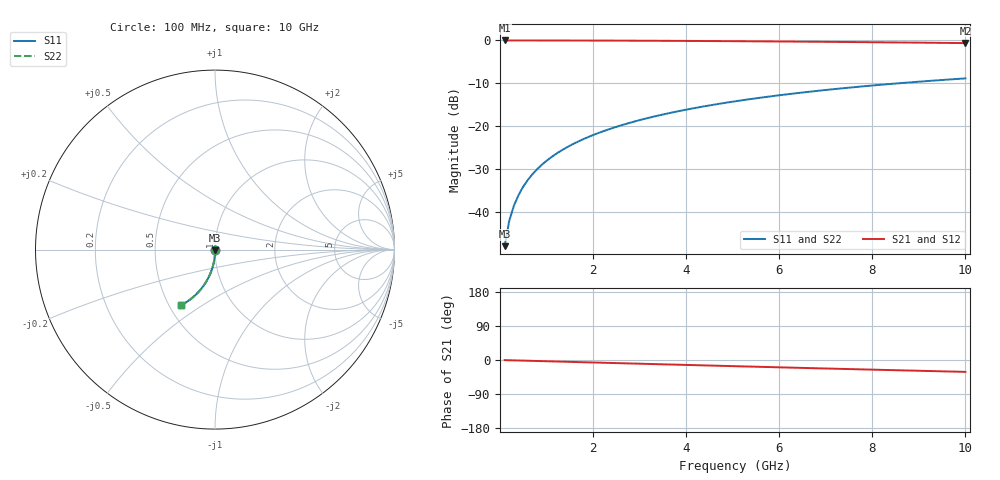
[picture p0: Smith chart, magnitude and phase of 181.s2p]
# Hz S RI R 50.00
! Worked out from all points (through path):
!   100 points, 100 MHz to 10 GHz, reference 50 ohm
!   highest |S21| = -0.01 dB at 100 MHz (marker M1); lowest = -0.6 dB at 10 GHz (marker M2)
!   group delay of S21, straight-line fit = 8.73 ps
!   lowest |S11| = -47.9 dB at 100 MHz (marker M3), VSWR 1.01, Z = 50.1 - j0.397 ohm
!   |S11| at or under -10 dB: start of sweep to 8.547 GHz
!   |S22| runs from -47.9 to -8.8 dB; largest |S21 - S12| = 0
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1e8  0.00062 -0.00397  0.9993 -0.0057  0.9993 -0.0057  0.00062 -0.00397
2e8  0.000552 -0.00793  0.9992 -0.0114  0.9992 -0.0114  0.000552 -0.00793
3e8  0.000437 -0.0119  0.9991 -0.0171  0.9991 -0.0171  0.000437 -0.0119
4e8  0.000277 -0.0159  0.9989 -0.0228  0.9989 -0.0228  0.000277 -0.0159
5e8  7.07e-05 -0.0198  0.9987 -0.0285  0.9987 -0.0285  7.07e-05 -0.0198
6e8  -0.000181 -0.0238  0.9984 -0.0342  0.9984 -0.0342  -0.000181 -0.0238
7e8  -0.000477 -0.0277  0.9981 -0.0399  0.9981 -0.0399  -0.000477 -0.0277
8e8  -0.000819 -0.0317  0.9978 -0.0456  0.9978 -0.0456  -0.000819 -0.0317
9e8  -0.00121 -0.0356  0.9973 -0.0513  0.9973 -0.0513  -0.00121 -0.0356
1.1e9  -0.00211 -0.0435  0.9964 -0.0626  0.9964 -0.0626  -0.00211 -0.0435
1.4e9  -0.00381 -0.0553  0.9945 -0.0796  0.9945 -0.0796  -0.00381 -0.0553
1.8e9  -0.00669 -0.0708  0.9915 -0.1021  0.9915 -0.1021  -0.00669 -0.0708
2.1e9  -0.00931 -0.0824  0.9887 -0.1189  0.9887 -0.1189  -0.00931 -0.0824
2.5e9  -0.0134 -0.0976  0.9843 -0.1411  0.9843 -0.1411  -0.0134 -0.0976
2.9e9  -0.0182 -0.1126  0.9792 -0.163  0.9792 -0.163  -0.0182 -0.1126
3.4e9  -0.0251 -0.1309  0.9718 -0.1901  0.9718 -0.1901  -0.0251 -0.1309
4.2e9  -0.0381 -0.1592  0.9578 -0.2323  0.9578 -0.2323  -0.0381 -0.1592
5.1e9  -0.0555 -0.1892  0.9391 -0.278  0.9391 -0.278  -0.0555 -0.1892
5.9e9  -0.0732 -0.214  0.92 -0.3169  0.92 -0.3169  -0.0732 -0.214
6.7e9  -0.0928 -0.2369  0.8989 -0.3539  0.8989 -0.3539  -0.0928 -0.2369
8.4e9  -0.1393 -0.2786  0.8483 -0.4256  0.8483 -0.4256  -0.1393 -0.2786
1e10  -0.1876 -0.3087  0.7953 -0.4843  0.7953 -0.4843  -0.1876 -0.3087
